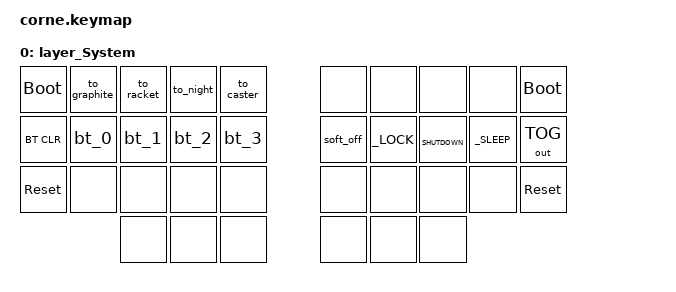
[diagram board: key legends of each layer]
/* Corne 5-column (36-key) wrapper. */

#include <layouts/foostan/corne/5column.dtsi>

/ {
    chosen {
        zmk,physical-layout = &foostan_corne_5col_layout;
    };
};

#include <zmk-helpers/key-labels/36.h>

#undef LH0
#undef LH1
#undef LH2
#undef RH0
#undef RH1
#undef RH2
#define LH0 30
#define LH2 31
#define LH1 32
#define RH1 33
#define RH2 34
#define RH0 35

#undef THUMBS
#define THUMBS LH2 LH1 LH0 RH0 RH1 RH2

#define ZMK_BASE_LAYER(name, LT, RT, LM, RM, LB, RB, LH, RH) \
    ZMK_LAYER(name, LT RT LM RM LB RB &none LH RH &none)

#include "base.keymap"

/ {
    keymap {
        compatible = "zmk,keymap";

        layer_System {
            bindings = <
     &bootloader   &to_graphite  &to_racket    &to_night &to_caster   &none       &none        &none        &none      &bootloader
     &bt BT_CLR    &bt_0         &bt_1         &bt_2         &bt_3              &soft_off   &kp _LOCK    &kp _SHUTDOWN &kp _SLEEP &out OUT_TOG
     &sys_reset    &none         &none         &none         &none              &none       &none        &none        &none      &sys_reset
                   &none              &none       &none    &none              &none        &none
            >;
        };

    };
};
